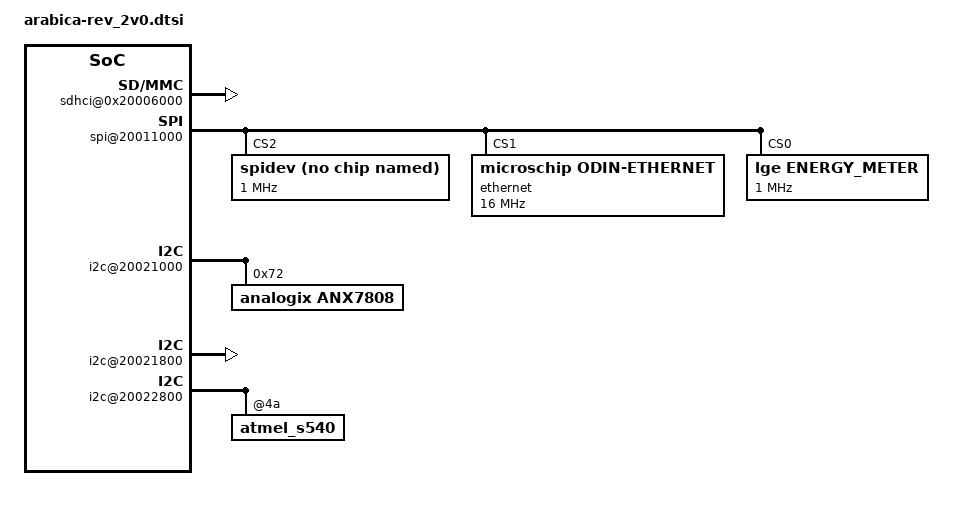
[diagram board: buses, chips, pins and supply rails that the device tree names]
/*
 * LG Electronics I2C for ODIN/Woden
 */

/ {

  connectivity {
        compatible = "simple-bus";
  		interrupt-parent = <&gic>;
   	    #address-cells = <2>;
   	    #size-cells = <2>;
		ranges;

/* sdio start */
		sdhci@0x20006000{
			compatible = "odin,sdio";
			reg = <0 0x20006000 0 0x2000>;
			clocks = <&sdio_sclk0>;
			interrupts = <0 4 0x4>;	/* 36 - 32 */
			sdclk = <100>;			/* 200Mhz, UHS104*/
			tuning_mode = <1>;		/* 0 : mode-1, 1 : mode-2, 2 : mode-3 */
		};
/* sdio end */

/* BCM4339 Wi-Fi Driver start */
		wlan@0{
			compatible = "odin,broadcom,bcm4339-wlan";
			power_gpio = <154>;		/* 112 + SMS_GPIO_42_EINT */
		};
/* BCM4339 Wi-Fi Driver end */

		bt@0{
			compatible ="odin,broadcom,bcm4339-bt";
			reset_gpio = <132>;		/* 112 + SMS_GPIO_20 */
			wakeup_gpio = <3>;		/* 0 + PERI_G0_GPIO_03_EINT */
			hostwake_gpio = <140>;	/* 112 + SMS_GPIO_28 */
		};
	};
	soc{
		compatible = "simple-bus";
  		interrupt-parent = <&gic>;
		#address-cells = <2>;
		#size-cells = <2>;
		ranges;
		spi@20011000 {
			compatible = "octasic,odin-spi";
			reg = <0 0x20011000 0 0x1000>;
			interrupts = <0 9 0x4>;
			clocks = <&spi_sclk0>;
			id = <0>;
			#address-cells = <1>;
			#size-cells = <0>;

			spidev@0{
				compatible = "spidev";
				spi-max-frequency = <1000000>;
				reg = <2>;
				spi-cpha;
				spi-cpol;
			};

			ethernet@1{
				compatible = "microschip,odin-ethernet";
				spi-max-frequency = <16000000>;
				spi_cs_gpio = <233>;
				reg = <1>;
				irq_gpio = <199>;
			};

			energy_meter@2{
				compatible = "lge,energy_meter";
				spi-max-frequency = <1000000>;
				reg = <0>;
			};
		};
		i2c@20021000 {

			/* LGE_CHANGE_S
			 */
			anx7808@72{
				compatible = "analogix,anx7808";
				status = "ok";
				reg = <0x72>;
				analogix,reset-gpio = <52>; /* PERI_G0_GPIO_BASE(0)+52 */
				analogix,irq-gpio = <51>;   /* PERI_G0_GPIO_BASE(0)+51 */
				analogix,p-dwn-gpio = <53>; /* PERI_G0_GPIO_BASE(0)+53 */
				analogix,v10-ctrl-gpio = <31>;  /* PERI_G0_GPIO_BASE(0)+31 */
				analogix,cbl-det-gpio = <146>;  /* SMS_GPIO_BASE(112)+34 */
				lge,external-ldo-control = <0>;
			};
		};


		i2c@20021800 {
			compatible = "snps,odin-i2c";
			reg = <0 0x20021800 0 0x800>;
			interrupts = <0 16 0x4>;
			clocks = <&i2c_sclk1>;

			lm3630@38{
				compatible = "backlight,lm3630_odin";
				status = "disabled";
			};
		};

		i2c@20022800 {
			compatible = "snps,odin-i2c";
			reg = <0 0x20022800 0 0x800>;
			interrupts = <0 18 0x4>;
			clocks = <&i2c_sclk3>;

				touchIc@20  {
					status = "disabled";
				};

				atmel_s540@4a {
					status = "ok";
				};
		};

	};
};
